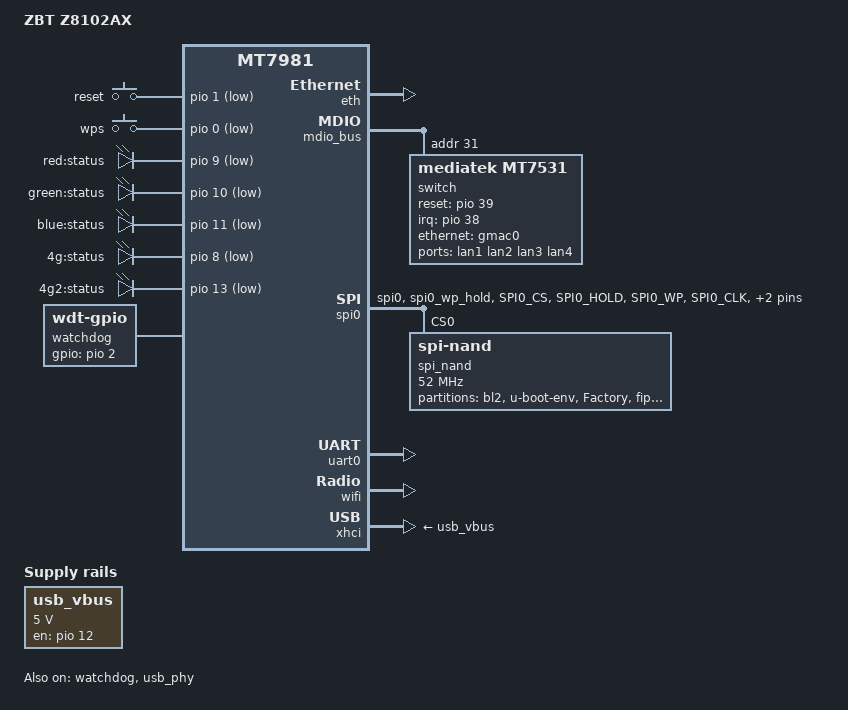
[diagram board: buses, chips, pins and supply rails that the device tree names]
// SPDX-License-Identifier: GPL-2.0-or-later OR MIT 

/dts-v1/;
#include <dt-bindings/gpio/gpio.h>
#include <dt-bindings/input/input.h>

#include "mt7981.dtsi"

/ {
	model = "ZBT Z8102AX";
	compatible = "z8102ax", "mediatek,mt7981";

	aliases {
		serial0 = &uart0;
		led-boot = &led_status_red;
		led-failsafe = &led_status_red;
		led-running = &led_status_green;
		led-upgrade = &led_status_green;
	};

	chosen {
		stdout-path = "serial0:115200n8";
	};

	gpio-keys {
		compatible = "gpio-keys";

		reset {
			label = "reset";
			linux,code = <KEY_RESTART>;
			gpios = <&pio 1 GPIO_ACTIVE_LOW>;
		};

		wps {
			label = "wps";
			linux,code = <KEY_WPS_BUTTON>;
			gpios = <&pio 0 GPIO_ACTIVE_LOW>;
		};
		
	};

	leds {
		compatible = "gpio-leds";

		led_status_red: red {
			label = "red:status";
			gpios = <&pio 9 GPIO_ACTIVE_LOW>;
		};

		led_status_green: green {
			label = "green:status";
			gpios = <&pio 10 GPIO_ACTIVE_LOW>;
		};
		
		led_status_blue: blue {
			label = "blue:status";
			gpios = <&pio 11 GPIO_ACTIVE_LOW>;
		};
		
		led_status_4g: 4g {
			label = "4g:status";
			gpios = <&pio 8 GPIO_ACTIVE_LOW>;
		};
		
		led_status_4g2: 4g2 {
			label = "4g2:status";
			gpios = <&pio 13 GPIO_ACTIVE_LOW>;
		};
	};
	watchdog {
		compatible = "linux,wdt-gpio";
		gpios = <&pio 2 GPIO_ACTIVE_HIGH>;
		hw_algo = "toggle";
		hw_margin_ms = <1000>;
	};
	usb_vbus: regulator-usb-vbus {
		compatible = "regulator-fixed";
		regulator-name = "usb_vbus";
		regulator-min-microvolt = <5000000>;
		regulator-max-microvolt = <5000000>;
		gpio = <&pio 12 GPIO_ACTIVE_HIGH>;
		enable-active-high;
		regulator-boot-on;
	};
};

&eth {
	status = "okay";

	gmac0: mac@0 {
		compatible = "mediatek,eth-mac";
		reg = <0>;
		phy-mode = "2500base-x";
		nvmem-cell-names = "mac-address";
		nvmem-cells = <&macaddr_factory_004>;

		fixed-link {
			speed = <2500>;
			full-duplex;
			pause;
		};
	};
	
	gmac1: mac@1 {
		compatible = "mediatek,eth-mac";
		reg = <1>;
		phy-mode = "gmii";
		phy-handle = <&int_gbe_phy>;
	};
};

&mdio_bus {
	switch: switch@0 {
		compatible = "mediatek,mt7531";
		reg = <31>;
		reset-gpios = <&pio 39 GPIO_ACTIVE_HIGH>;
		interrupt-controller;
		#interrupt-cells = <1>;
		interrupt-parent = <&pio>;
		interrupts = <38 IRQ_TYPE_LEVEL_HIGH>;
	};
};

&spi0 {
	pinctrl-names = "default";
	pinctrl-0 = <&spi0_flash_pins>;
	status = "okay";

	spi_nand@0 {
		compatible = "spi-nand";
		#address-cells = <1>;
		#size-cells = <1>;
		reg = <0>;

		spi-max-frequency = <52000000>;
		spi-tx-buswidth = <4>;
		spi-rx-buswidth = <4>;

		partitions {
			compatible = "fixed-partitions";
			#address-cells = <1>;
			#size-cells = <1>;

			partition@0 {
				label = "bl2";
				reg = <0x0000000 0x0100000>;
				read-only;
			};

			partition@100000 {
				label = "u-boot-env";
				reg = <0x0100000 0x0080000>;
			};

			factory: partition@180000 {
				label = "Factory";
				reg = <0x0180000 0x0200000>;
				read-only;
			};

			partition@380000 {
				label = "fip";
				reg = <0x0380000 0x0200000>;
				read-only;
			};

			nand_rootfs: partition@580000 {
				label = "ubi";
			};
		};
	};
};

&switch {
	ports {
		#address-cells = <1>;
		#size-cells = <0>;

		port@0 {
			reg = <0>;
			label = "lan1";
			nvmem-cell-names = "mac-address";
			nvmem-cells = <&macaddr_factory_004>;
			mac-address-increment = <2>;
		};

		port@1 {
			reg = <1>;
			label = "lan2";
			nvmem-cell-names = "mac-address";
			nvmem-cells = <&macaddr_factory_004>;
			mac-address-increment = <2>;
		};

		port@2 {
			reg = <2>;
			label = "lan3";
			nvmem-cell-names = "mac-address";
			nvmem-cells = <&macaddr_factory_004>;
			mac-address-increment = <2>;
		};

		port@3 {
			reg = <3>;
			label = "lan4";
			nvmem-cell-names = "mac-address";
			nvmem-cells = <&macaddr_factory_004>;
			mac-address-increment = <2>;
		};

		port@6 {
			reg = <6>;
			ethernet = <&gmac0>;
			phy-mode = "2500base-x";

			fixed-link {
				speed = <2500>;
				full-duplex;
				pause;
			};
		};
	};
};

&pio {
	spi0_flash_pins: spi0-pins {
		mux {
			function = "spi";
			groups = "spi0", "spi0_wp_hold";
		};

		conf-pu {
			pins = "SPI0_CS", "SPI0_HOLD", "SPI0_WP";
			drive-strength = <8>;
			mediatek,pull-up-adv = <0>; /* bias-disable */
		};

		conf-pd {
			pins = "SPI0_CLK", "SPI0_MOSI", "SPI0_MISO";
			drive-strength = <8>;
			mediatek,pull-up-adv = <0>; /* bias-disable */
		};
	};
};

&uart0 {
	status = "okay";
};

&watchdog {
	status = "okay";
};

&wifi {
	status = "okay";

	mediatek,mtd-eeprom = <&factory 0x0>;
};

&usb_phy {
	status = "okay";
};

&xhci {
	vbus-supply = <&usb_vbus>;

	status = "okay";
};

&factory {
	compatible = "nvmem-cells";
	#address-cells = <1>;
	#size-cells = <1>;

	macaddr_factory_004: macaddr@004 {
		reg = <0x004 0x6>;
	};
};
